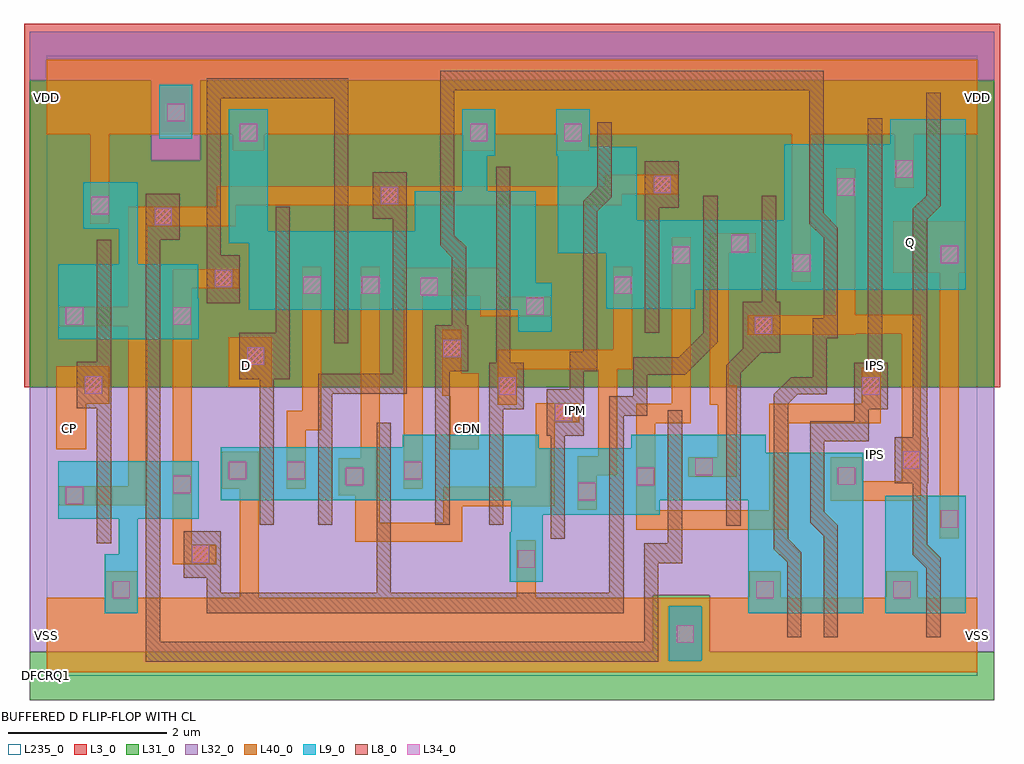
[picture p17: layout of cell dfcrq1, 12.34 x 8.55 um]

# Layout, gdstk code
import gdstk
lib = gdstk.Library(unit=1e-6, precision=1e-09)
def R(c, l, rs):  # rectangles x0, y0, x1, y1
    for r in rs: c.add(gdstk.rectangle(r[:2], r[2:], *l))
def P(c, l, *ps):  # polygons
    for p in ps: c.add(gdstk.Polygon(p, *l))
L3_0 = (3, 0)
L8_0 = (8, 0)
L9_0 = (9, 0)
L31_0 = (31, 0)
L32_0 = (32, 0)
L34_0 = (34, 0)
L40_0 = (40, 0)
L235_0 = (235, 0)

dfcrq1 = lib.new_cell('dfcrq1')
R(dfcrq1, L3_0, [(-0.29,3.65,12.05,8.245)])
P(dfcrq1, L8_0, [(9.54,1.565),(9.37,1.735),(9.37,3.44),(9.49,3.56),(9.86,3.56),(9.86,4.27),(10,4.27),(10,5.67),(9.82,5.85),(9.82,7.655),(4.97,7.655),(4.97,5.445),(5.12,5.295),(5.12,4.435),(4.91,4.435),(4.91,1.915),(5.09,1.915),(5.09,3.85),(5.33,3.85),(5.33,4.435),(5.3,4.435),(5.3,5.425),(5.15,5.575),(5.15,7.405),(9.64,7.405),(9.64,5.72),(9.82,5.54),(9.82,4.52),(9.68,4.52),(9.68,3.78),(9.41,3.78),(9.19,3.56),(9.19,1.605),(9.36,1.435),(9.36,0.49),(9.54,0.49)],
  [(3.81,7.56),(2.02,7.56),(2.02,4.715),(2.44,4.715),(2.44,5.32),(2.2,5.32),(2.2,7.305),(3.63,7.305),(3.63,4.21),(3.81,4.21)],
  [(11.3,1.495),(11.13,1.665),(11.13,2.435),(11.14,2.435),(11.14,3.02),(11.13,3.02),(11.13,5.775),(11.3,5.945),(11.3,7.375),(11.12,7.375),(11.12,6.075),(10.95,5.905),(10.95,3.02),(10.72,3.02),(10.72,2.435),(10.95,2.435),(10.95,1.535),(11.12,1.365),(11.12,0.49),(11.3,0.49)],
  [(10,1.905),(9.83,2.075),(9.83,2.965),(10.39,2.965),(10.39,3.37),(10.63,3.37),(10.63,3.96),(10.56,3.96),(10.56,7.055),(10.38,7.055),(10.38,3.96),(10.21,3.96),(10.21,3.22),(9.65,3.22),(9.65,1.94),(9.82,1.77),(9.82,0.49),(10,0.49)],
  [(6.55,3.035),(6.79,3.035),(6.79,3.85),(6.96,3.85),(6.96,5.875),(7.14,6.055),(7.14,7),(6.96,7),(6.96,6.185),(6.78,6.005),(6.78,4.1),(6.61,4.1),(6.61,3.625),(6.32,3.625),(6.32,3.035),(6.37,3.035),(6.37,1.735),(6.55,1.735)],
  [(7.74,5.92),(7.99,5.92),(7.99,6.51),(7.56,6.51),(7.56,4.34),(7.74,4.34)],
  [(5.77,3.37),(6.03,3.37),(6.03,3.96),(5.86,3.96),(5.86,6.44),(5.68,6.44),(5.68,3.96),(5.59,3.96),(5.59,1.915),(5.77,1.915)],
  [(3.61,3.57),(4.55,3.57),(4.55,6.37),(4.12,6.37),(4.12,5.78),(4.37,5.78),(4.37,3.82),(3.43,3.82),(3.43,1.915),(3.61,1.915)],
  [(7.73,1.425),(8.03,1.425),(8.03,3.36),(7.85,3.36),(7.85,1.68),(7.55,1.68),(7.55,0.43),(1.43,0.43),(1.43,5.515),(1.68,5.515),(1.68,6.1),(1.25,6.1),(1.25,0.18),(7.73,0.18)],
  [(7.29,3.29),(7.59,3.29),(7.59,3.81),(8.07,3.81),(8.48,4.22),(8.48,6.075),(8.3,6.075),(8.3,4.34),(7.99,4.03),(7.41,4.03),(7.41,3.54),(7.11,3.54),(7.11,1.05),(4.35,1.05),(4.35,3.205),(4.17,3.205),(4.17,1.05),(2.2,1.05),(2.2,1.83),(1.73,1.83),(1.73,1.245),(2.02,1.245),(2.02,0.795),(7.29,0.795)],
  [(8.77,3.825),(9.03,4.085),(9.27,4.085),(9.27,4.73),(9.22,4.73),(9.22,6.075),(9.04,6.075),(9.04,4.73),(8.8,4.73),(8.8,4.14),(8.59,3.93),(8.59,1.9),(8.77,1.9)],
  [(2.87,3.75),(3.07,3.75),(3.07,5.935),(2.89,5.935),(2.89,4.34),(2.43,4.34),(2.43,3.75),(2.69,3.75),(2.69,1.915),(2.87,1.915)],
  [(0.81,5.515),(0.63,5.515),(0.63,3.975),(0.38,3.975),(0.38,3.385),(0.63,3.385),(0.63,1.68),(0.81,1.68)])
R(dfcrq1, L9_0, [(7.86,0.195,8.28,0.88), (10.6,0.795,11.62,2.28), (1.42,6.79,1.84,7.475)])
P(dfcrq1, L9_0, [(1.92,2.715),(1.92,1.985),(1.15,1.985),(1.15,0.795),(0.73,0.795),(0.73,1.54),(0.91,1.54),(0.91,1.985),(0.14,1.985),(0.14,2.715)],
  [(9.09,3.05),(9.09,2.825),(10.32,2.825),(10.32,0.795),(8.87,0.795),(8.87,2.225),(7.75,2.225),(7.75,2.04),(6.27,2.04),(6.27,1.19),(5.85,1.19),(5.85,1.82),(5.87,1.82),(5.87,2.225),(2.2,2.225),(2.2,2.895),(4.5,2.895),(4.5,3.05),(6.22,3.05),(6.22,2.88),(7.39,2.88),(7.39,3.05)],
  [(1.15,6.24),(1.15,5.205),(1.91,5.205),(1.91,4.77),(1.92,4.77),(1.92,4.255),(0.14,4.255),(0.14,5.205),(0.91,5.205),(0.91,5.655),(0.46,5.655),(0.46,6.24)],
  [(6.86,7.165),(6.86,6.69),(7.46,6.69),(7.46,5.765),(9.32,5.765),(9.32,6.72),(10.66,6.72),(10.66,7.04),(11.62,7.04),(11.62,4.885),(8.2,4.885),(8.2,4.645),(7.07,4.645),(7.07,5.345),(6.46,5.345),(6.46,6.58),(6.44,6.58),(6.44,7.165)],
  [(5.67,7.165),(5.67,6.58),(5.57,6.58),(5.57,6.13),(6.18,6.13),(6.18,4.97),(6.38,4.97),(6.38,4.35),(5.96,4.35),(5.96,4.63),(2.55,4.63),(2.55,5.47),(2.3,5.47),(2.3,7.165),(2.79,7.165),(2.79,5.625),(4.65,5.625),(4.65,6.13),(5.25,6.13),(5.25,7.165)])
P(dfcrq1, L31_0, [(8.38,1.02),(8.38,0.305),(11.98,0.305),(11.98,-0.305),(-0.22,-0.305),(-0.22,0.305),(7.66,0.305),(7.66,1.02)],
  [(11.98,7.53),(11.98,3.65),(-0.22,3.65),(-0.22,7.53),(1.32,7.53),(1.32,6.52),(1.94,6.52),(1.94,7.53)])
P(dfcrq1, L32_0, [(11.98,3.65),(11.98,0.305),(8.38,0.305),(8.38,1.02),(7.66,1.02),(7.66,0.305),(-0.22,0.305),(-0.22,3.65)],
  [(11.98,8.145),(11.98,7.53),(1.94,7.53),(1.94,6.52),(1.32,6.52),(1.32,7.53),(-0.22,7.53),(-0.22,8.145)])
R(dfcrq1, L34_0, [(7.96,0.42,8.18,0.64), (0.83,0.98,1.05,1.2), (8.97,0.98,9.19,1.2), (10.7,0.98,10.92,1.2), (5.95,1.37,6.17,1.59), (1.83,1.43,2.05,1.65), (11.3,1.875,11.52,2.095), (0.24,2.17,0.46,2.39), (6.72,2.225,6.94,2.445), (1.6,2.31,1.82,2.53), (3.78,2.41,4,2.63), (7.46,2.41,7.68,2.63), (10,2.42,10.22,2.64), (2.3,2.49,2.52,2.71), (3.04,2.49,3.26,2.71), (4.52,2.49,4.74,2.71), (8.2,2.535,8.42,2.755), (10.82,2.62,11.04,2.84), (6.42,3.22,6.64,3.44), (5.71,3.555,5.93,3.775), (10.31,3.555,10.53,3.775), (0.48,3.57,0.7,3.79), (2.53,3.935,2.75,4.155), (5.01,4.03,5.23,4.25), (8.95,4.325,9.17,4.545), (0.24,4.44,0.46,4.66), (1.6,4.44,1.82,4.66), (6.06,4.565,6.28,4.785), (4.72,4.815,4.94,5.035), (3.24,4.83,3.46,5.05), (3.98,4.83,4.2,5.05), (7.17,4.83,7.39,5.05), (2.12,4.915,2.34,5.135), (9.43,5.11,9.65,5.33), (7.91,5.21,8.13,5.43), (11.3,5.22,11.52,5.44), (8.65,5.36,8.87,5.58), (1.36,5.7,1.58,5.92), (0.56,5.84,0.78,6.06), (4.22,5.965,4.44,6.185), (9.99,6.075,10.21,6.295), (7.67,6.105,7.89,6.325), (10.73,6.3,10.95,6.52), (2.44,6.76,2.66,6.98), (5.35,6.76,5.57,6.98), (6.54,6.76,6.76,6.98), (1.52,7.015,1.74,7.235)])
R(dfcrq1, L40_0, [(2.3,3.655,2.84,4.28)])
P(dfcrq1, L40_0, [(0,6.85),(0.55,6.85),(0.55,5.715),(0.79,5.715),(0.79,6.85),(2.35,6.85),(2.35,6.64),(2.75,6.64),(2.75,6.85),(5.26,6.85),(5.26,6.64),(5.66,6.64),(5.66,6.85),(6.45,6.85),(6.45,6.64),(6.85,6.64),(6.85,6.85),(9.42,6.85),(9.42,4.985),(9.66,4.985),(9.66,6.85),(10.72,6.85),(10.72,6.175),(10.96,6.175),(10.96,6.85),(11.76,6.85),(11.76,7.79),(0,7.79)],
  [(2.39,5.95),(7.27,5.95),(7.27,6.09),(7.98,6.09),(7.98,6.335),(7.05,6.335),(7.05,6.195),(2.15,6.195),(2.15,5.93),(1.03,5.93),(1.03,4.67),(0.15,4.67),(0.15,4.425),(1.03,4.425),(1.03,2.4),(0.15,2.4),(0.15,2.16),(1.27,2.16),(1.27,5.685),(2.39,5.685)],
  [(10.7,5.1),(11.29,5.1),(11.29,1.74),(11.53,1.74),(11.53,5.1),(11.61,5.1),(11.61,5.75),(10.7,5.75)],
  [(7.21,3.88),(7.4,3.88),(7.4,5.175),(7.16,5.175),(7.16,4.125),(5.7,4.125),(5.7,3.43),(5.94,3.43),(5.94,3.88),(6.97,3.88),(6.97,2.78),(6.71,2.78),(6.71,2.1),(6.95,2.1),(6.95,2.535),(7.21,2.535)],
  [(3.23,3.355),(3.03,3.355),(3.03,2.37),(3.27,2.37),(3.27,3.11),(3.47,3.11),(3.47,5.175),(3.23,5.175)],
  [(4.51,5.16),(4.51,2.37),(4.75,2.37),(4.75,4.805),(5.48,4.805),(5.48,4.55),(6.37,4.55),(6.37,4.795),(5.72,4.795),(5.72,5.16)],
  [(10.22,6.42),(9.98,6.42),(9.98,4.56),(8.86,4.56),(8.86,4.315),(10.22,4.315),(10.22,4.33),(10.81,4.33),(10.81,2.46),(10.31,2.46),(10.31,2.765),(9.91,2.765),(9.91,2.215),(11.05,2.215),(11.05,4.57),(10.22,4.57)],
  [(0.12,2.87),(0.5,2.87),(0.5,3.445),(0.79,3.445),(0.79,3.915),(0.12,3.915)],
  [(10.54,3.9),(10.3,3.9),(10.3,3.44),(9.13,3.44),(9.13,2.095),(7.69,2.095),(7.69,3.195),(8.14,3.195),(8.14,5.55),(7.9,5.55),(7.9,3.44),(7.45,3.44),(7.45,1.85),(9.38,1.85),(9.38,3.195),(10.54,3.195)],
  [(5,4.375),(5,3.545),(5.1,3.545),(5.1,2.87),(5.46,2.87),(5.46,3.83),(5.24,3.83),(5.24,4.375)],
  [(8.96,5.35),(8.96,5.595),(8.38,5.595),(8.38,3.43),(8.48,3.43),(8.48,2.765),(8.11,2.765),(8.11,2.52),(8.72,2.52),(8.72,3.675),(8.62,3.675),(8.62,5.35)],
  [(6.42,3.21),(6.73,3.21),(6.73,3.45),(6.18,3.45),(6.18,2.39),(5.01,2.39),(5.01,1.94),(4.21,1.94),(4.21,5.175),(3.97,5.175),(3.97,2.75),(3.69,2.75),(3.69,2.285),(3.9,2.285),(3.9,1.695),(5.25,1.695),(5.25,2.145),(6.42,2.145)],
  [(2.43,4.9),(2.43,5.145),(1.59,5.145),(1.59,1.415),(2.14,1.415),(2.14,1.66),(1.83,1.66),(1.83,4.9)],
  [(10.61,1.325),(10.61,0.99),(9.28,0.99),(9.28,1.325),(8.88,1.325),(8.88,0.99),(6.18,0.99),(6.18,1.715),(5.94,1.715),(5.94,0.99),(2.68,0.99),(2.68,2.835),(2.21,2.835),(2.21,2.37),(2.44,2.37),(2.44,0.99),(1.14,0.99),(1.14,1.325),(0.74,1.325),(0.74,0.99),(0,0.99),(0,0.045),(11.76,0.045),(11.76,0.99),(11.01,0.99),(11.01,1.325)])
R(dfcrq1, L235_0, [(0,0,11.76,7.84)])
dfcrq1.add(gdstk.Label('IPS', (10.47,2.8), layer=8, texttype=7))
dfcrq1.add(gdstk.Label('IPS', (10.47,2.8), layer=8, texttype=7))
dfcrq1.add(gdstk.Label('IPS', (10.47,2.8), layer=8, texttype=7))
dfcrq1.add(gdstk.Label('IPS', (10.47,2.8), layer=8, texttype=7))
dfcrq1.add(gdstk.Label('IPS', (10.47,2.8), layer=8, texttype=7))
dfcrq1.add(gdstk.Label('Copyright (c) 2003, 2004 Synopsys, Inc.', (0,-2.24), layer=96, texttype=0))
dfcrq1.add(gdstk.Label('DT. 10-Sep-2002 16:40:04', (0,-1.68), layer=96, texttype=0))
dfcrq1.add(gdstk.Label('Rev. 1', (0,-1.12), layer=96, texttype=0))
dfcrq1.add(gdstk.Label('BUFFERED D FLIP-FLOP WITH CLEAR AND Q ONLY, 1X DRIVE', (0,-0.56), layer=96, texttype=0))
dfcrq1.add(gdstk.Label('DFCRQ1', (0,0), layer=96, texttype=0))
dfcrq1.add(gdstk.Label('CDN', (5.32,3.135), layer=40, texttype=7))
dfcrq1.add(gdstk.Label('Q', (10.92,5.485), layer=40, texttype=7))
dfcrq1.add(gdstk.Label('CP', (0.28,3.135), layer=40, texttype=7))
dfcrq1.add(gdstk.Label('D', (2.52,3.92), layer=40, texttype=7))
dfcrq1.add(gdstk.Label('VSS', (11.76,0.515), layer=40, texttype=7))
dfcrq1.add(gdstk.Label('VDD', (11.76,7.32), layer=40, texttype=7))
dfcrq1.add(gdstk.Label('VSS', (0,0.515), layer=40, texttype=7))
dfcrq1.add(gdstk.Label('VDD', (0,7.32), layer=40, texttype=7))
dfcrq1.add(gdstk.Label('IPM', (6.68,3.36), layer=8, texttype=7))
dfcrq1.add(gdstk.Label('IPS', (10.47,3.92), layer=8, texttype=7))

lib.write_gds('dfcrq1.gds')
